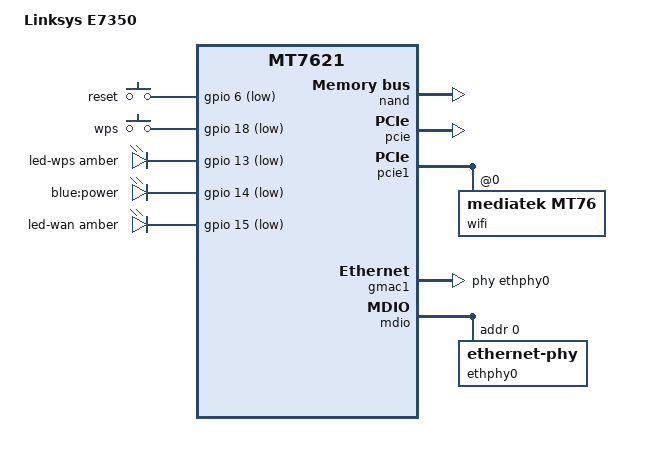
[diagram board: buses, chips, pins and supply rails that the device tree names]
// SPDX-License-Identifier: GPL-2.0-or-later OR MIT

#include "mt7621.dtsi"

#include <dt-bindings/gpio/gpio.h>
#include <dt-bindings/input/input.h>
#include <dt-bindings/leds/common.h>

/ {
	compatible = "linksys,e7350", "mediatek,mt7621-soc";
	model = "Linksys E7350";

	aliases {
		led-boot = &led_power;
		led-failsafe = &led_power;
		led-running = &led_power;
		led-upgrade = &led_power;
	};

	chosen {
		bootargs = "console=ttyS0,115200";
	};

	keys {
		compatible = "gpio-keys";

		reset {
			label = "reset";
			gpios = <&gpio 6 GPIO_ACTIVE_LOW>;
			linux,code = <KEY_RESTART>;
		};

		wps {
			label = "wps";
			gpios = <&gpio 18 GPIO_ACTIVE_LOW>;
			linux,code = <KEY_WPS_BUTTON>;
		};
	};

	leds {
		compatible = "gpio-leds";

		led-wps {
			color = <LED_COLOR_ID_AMBER>;
			function = LED_FUNCTION_WPS;
			gpios = <&gpio 13 GPIO_ACTIVE_LOW>;
		};

		led_power: led-power {
			label = "blue:power";
			gpios = <&gpio 14 GPIO_ACTIVE_LOW>;
			default-state = "on";
		};

		led-wan {
			color = <LED_COLOR_ID_AMBER>;
			function = LED_FUNCTION_WAN;
			gpios = <&gpio 15 GPIO_ACTIVE_LOW>;
		};
	};
};

&nand {
	status = "okay";

	partitions {
		compatible = "fixed-partitions";
		#address-cells = <1>;
		#size-cells = <1>;

		partition@0 {
			label = "Boot";
			reg = <0x0 0x80000>;
			read-only;
		};

		partition@80000 {
			label = "Config";
			reg = <0x80000 0x80000>;
		};

		factory: partition@100000 {
			label = "Factory";
			reg = <0x100000 0x80000>;
			read-only;
		};

		partition@180000 {
			label = "firmware";
			reg = <0x180000 0x3000000>;

			compatible = "fixed-partitions";
			#address-cells = <1>;
			#size-cells = <1>;

			partition@0 {
				label = "kernel";
				reg = <0x0 0x400000>;
			};

			partition@400000 {
				label = "ubi";
				reg = <0x400000 0x2c00000>;
			};
		};

		partition@3180000 {
			label = "alt_firmware";
			reg = <0x3180000 0x3000000>;
			read-only;
		};

		partition@6180000 {
			label = "cbtinfo";
			reg = <0x6180000 0x80000>;
			read-only;
		};
		/* seems to be the end here. Can't read past 0x6200000 */
	};
};

&pcie {
	status = "okay";
};

&pcie1 {
	wifi@0,0 {
		compatible = "mediatek,mt76";
		reg = <0x0000 0 0 0 0>;
		mediatek,mtd-eeprom = <&factory 0x0000>;
	};
};

&state_default {
	gpio {
		groups = "i2c", "uart3", "jtag", "wdt";
		function = "gpio";
	};
};

&gmac1 {
	status = "okay";
	label = "wan";
	phy-handle = <&ethphy0>;
};

&mdio {
	ethphy0: ethernet-phy@0 {
		reg = <0>;
	};
};

&switch0 {
	ports {
		port@1 {
			status = "okay";
			label = "lan4";
		};

		port@2 {
			status = "okay";
			label = "lan3";
		};

		port@3 {
			status = "okay";
			label = "lan2";
		};

		port@4 {
			status = "okay";
			label = "lan1";
		};
	};
};
